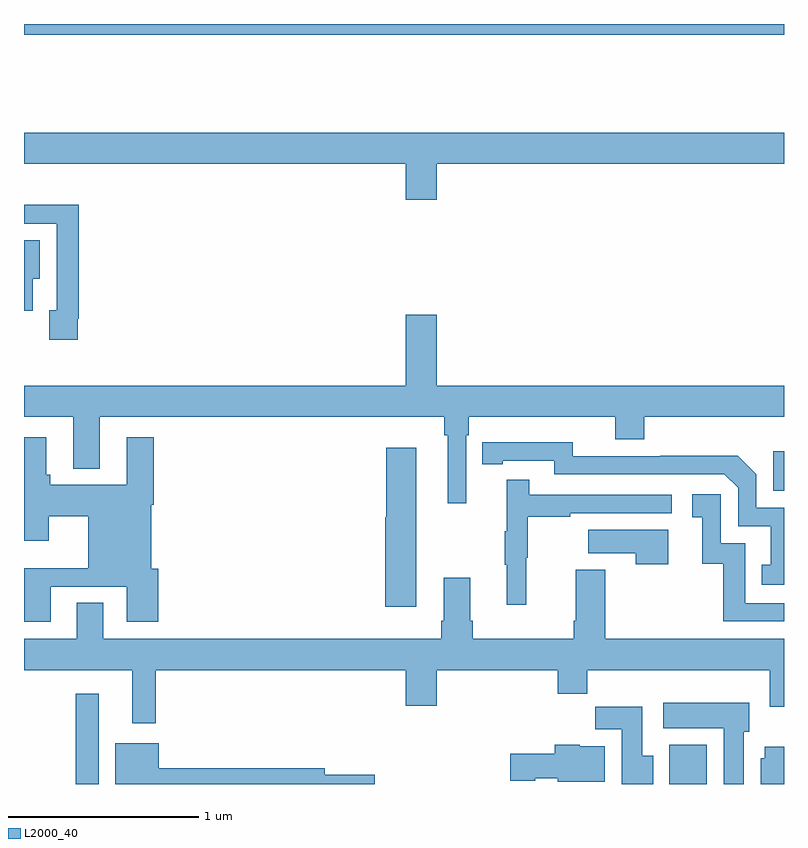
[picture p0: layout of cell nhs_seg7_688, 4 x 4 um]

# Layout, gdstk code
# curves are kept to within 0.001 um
import gdstk
lib = gdstk.Library(unit=1e-6, precision=1e-09)
def R(c, l, rs):  # rectangles x0, y0, x1, y1
    for r in rs: c.add(gdstk.rectangle(r[:2], r[2:], *l))
def P(c, l, *ps):  # polygons
    for p in ps: c.add(gdstk.Polygon(p, *l))
L2000_40 = (2000, 40)

nhs_seg7_688 = lib.new_cell('nhs_seg7_688')
R(nhs_seg7_688, L2000_40, [(163.272,1016,163.393,1016.476), (166.397,1016,166.594,1016.206), (166.944,1017.543,167,1017.751), (163,1019.944,167,1020)])
P(nhs_seg7_688, L2000_40, [(165.172,1019.264),(167,1019.264),(167,1019.428),(163,1019.428),(163,1019.264),(165.008,1019.264),(165.008,1019.076),(165.172,1019.076)],
  [(163.282,1018.45),(163.289,1018.45),(163.289,1019.048),(163,1019.048),(163,1018.95),(163.173,1018.95),(163.173,1018.494),(163.133,1018.494),(163.133,1018.338),(163.282,1018.338)],
  [(163.045,1018.658),(163.084,1018.658),(163.084,1018.861),(163,1018.861),(163,1018.49),(163.045,1018.49)],
  [(165.327,1017.836),(165.341,1017.836),(165.341,1017.932),(166.112,1017.932),(166.112,1017.815),(166.265,1017.815),(166.265,1017.932),(167,1017.932),(167,1018.096),(165.172,1018.096),(165.172,1018.471),(165.008,1018.471),(165.008,1018.096),(163,1018.096),(163,1017.932),(163.259,1017.932),(163.259,1017.659),(163.399,1017.659),(163.399,1017.932),(165.211,1017.932),(165.211,1017.836),(165.23,1017.836),(165.23,1017.477),(165.327,1017.477)],
  [(163.141,1017.039),(163.541,1017.039),(163.541,1016.853),(163.706,1016.853),(163.706,1017.132),(163.669,1017.132),(163.669,1017.47),(163.682,1017.47),(163.682,1017.826),(163.541,1017.826),(163.541,1017.574),(163.137,1017.574),(163.137,1017.627),(163.117,1017.627),(163.117,1017.826),(163,1017.826),(163,1017.279),(163.129,1017.279),(163.129,1017.41),(163.337,1017.41),(163.337,1017.136),(163,1017.136),(163,1017.039),(163.001,1017.039),(163.001,1016.853),(163.141,1016.853)],
  [(167,1017.453),(166.854,1017.453),(166.854,1017.63),(166.756,1017.728),(166.348,1017.728),(166.348,1017.726),(165.888,1017.726),(165.888,1017.799),(165.412,1017.798),(165.412,1017.682),(165.52,1017.682),(165.52,1017.702),(165.792,1017.702),(165.792,1017.63),(166.686,1017.63),(166.758,1017.558),(166.758,1017.357),(166.931,1017.357),(166.931,1017.153),(166.882,1017.153),(166.882,1017.048),(167,1017.048)],
  [(165.064,1017.769),(164.906,1017.769),(164.906,1017.405),(164.9,1017.405),(164.9,1016.934),(165.064,1016.934)],
  [(165.644,1017.192),(165.652,1017.192),(165.652,1017.406),(165.875,1017.406),(165.875,1017.426),(166.408,1017.426),(166.408,1017.522),(165.659,1017.522),(165.659,1017.601),(165.542,1017.601),(165.542,1017.329),(165.531,1017.329),(165.531,1017.155),(165.542,1017.155),(165.542,1016.943),(165.644,1016.943)],
  [(167,1016.952),(166.797,1016.952),(166.797,1017.267),(166.668,1017.267),(166.668,1017.526),(166.518,1017.526),(166.518,1017.405),(166.571,1017.405),(166.571,1017.159),(166.681,1017.159),(166.681,1016.856),(167,1016.856)],
  [(166.39,1017.337),(165.971,1017.337),(165.971,1017.215),(166.22,1017.215),(166.22,1017.156),(166.39,1017.156)],
  [(163.693,1016.6),(165.008,1016.6),(165.008,1016.412),(165.172,1016.412),(165.172,1016.6),(165.809,1016.6),(165.809,1016.476),(165.965,1016.476),(165.965,1016.6),(166.925,1016.6),(166.925,1016.406),(167,1016.406),(167,1016.764),(166.058,1016.764),(166.058,1017.127),(165.905,1017.127),(165.905,1016.86),(165.893,1016.86),(165.893,1016.764),(165.362,1016.764),(165.362,1016.86),(165.349,1016.86),(165.349,1017.085),(165.209,1017.085),(165.209,1016.86),(165.197,1016.86),(165.197,1016.764),(163.417,1016.764),(163.417,1016.954),(163.277,1016.954),(163.277,1016.764),(163,1016.764),(163,1016.6),(163.571,1016.6),(163.571,1016.319),(163.693,1016.319)],
  [(166.789,1016.274),(166.816,1016.274),(166.816,1016.428),(166.365,1016.428),(166.365,1016.294),(166.682,1016.294),(166.682,1016),(166.789,1016)],
  [(166.312,1016.148),(166.255,1016.148),(166.255,1016.407),(166.006,1016.407),(166.006,1016.288),(166.145,1016.288),(166.145,1016),(166.312,1016)],
  [(164.845,1016.048),(164.584,1016.048),(164.584,1016.084),(163.708,1016.084),(163.708,1016.215),(163.481,1016.215),(163.481,1016),(164.845,1016)],
  [(166.057,1016.2),(165.924,1016.2),(165.924,1016.206),(165.794,1016.206),(165.794,1016.16),(165.558,1016.16),(165.558,1016.018),(165.69,1016.018),(165.69,1016.03),(165.81,1016.03),(165.81,1016.012),(166.057,1016.012)],
  [(167,1016.197),(166.898,1016.197),(166.898,1016.136),(166.877,1016.136),(166.877,1016),(167,1016)])

lib.write_gds('nhs_seg7_688.gds')
